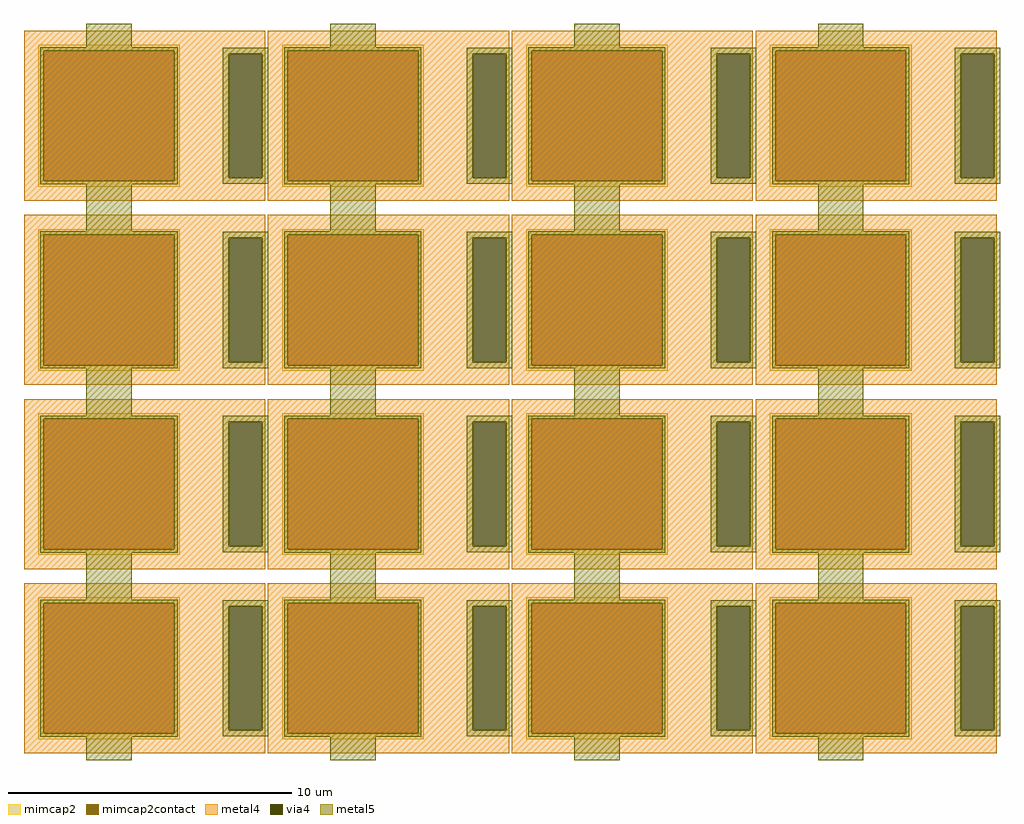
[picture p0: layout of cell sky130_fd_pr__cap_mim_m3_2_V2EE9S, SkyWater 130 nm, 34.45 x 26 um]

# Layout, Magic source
magic
tech sky130A
magscale 1 2
<< metal4 >>
rect -3434 2389 -1732 2550
rect -3434 1511 -1988 2389
rect -1752 1511 -1732 2389
rect -3434 1350 -1732 1511
rect -1712 2389 -10 2550
rect -1712 1511 -266 2389
rect -30 1511 -10 2389
rect -1712 1350 -10 1511
rect 10 2389 1712 2550
rect 10 1511 1456 2389
rect 1692 1511 1712 2389
rect 10 1350 1712 1511
rect 1732 2389 3434 2550
rect 1732 1511 3178 2389
rect 3414 1511 3434 2389
rect 1732 1350 3434 1511
rect -3434 1089 -1732 1250
rect -3434 211 -1988 1089
rect -1752 211 -1732 1089
rect -3434 50 -1732 211
rect -1712 1089 -10 1250
rect -1712 211 -266 1089
rect -30 211 -10 1089
rect -1712 50 -10 211
rect 10 1089 1712 1250
rect 10 211 1456 1089
rect 1692 211 1712 1089
rect 10 50 1712 211
rect 1732 1089 3434 1250
rect 1732 211 3178 1089
rect 3414 211 3434 1089
rect 1732 50 3434 211
rect -3434 -211 -1732 -50
rect -3434 -1089 -1988 -211
rect -1752 -1089 -1732 -211
rect -3434 -1250 -1732 -1089
rect -1712 -211 -10 -50
rect -1712 -1089 -266 -211
rect -30 -1089 -10 -211
rect -1712 -1250 -10 -1089
rect 10 -211 1712 -50
rect 10 -1089 1456 -211
rect 1692 -1089 1712 -211
rect 10 -1250 1712 -1089
rect 1732 -211 3434 -50
rect 1732 -1089 3178 -211
rect 3414 -1089 3434 -211
rect 1732 -1250 3434 -1089
rect -3434 -1511 -1732 -1350
rect -3434 -2389 -1988 -1511
rect -1752 -2389 -1732 -1511
rect -3434 -2550 -1732 -2389
rect -1712 -1511 -10 -1350
rect -1712 -2389 -266 -1511
rect -30 -2389 -10 -1511
rect -1712 -2550 -10 -2389
rect 10 -1511 1712 -1350
rect 10 -2389 1456 -1511
rect 1692 -2389 1712 -1511
rect 10 -2550 1712 -2389
rect 1732 -1511 3434 -1350
rect 1732 -2389 3178 -1511
rect 3414 -2389 3434 -1511
rect 1732 -2550 3434 -2389
<< via4 >>
rect -1988 1511 -1752 2389
rect -266 1511 -30 2389
rect 1456 1511 1692 2389
rect 3178 1511 3414 2389
rect -1988 211 -1752 1089
rect -266 211 -30 1089
rect 1456 211 1692 1089
rect 3178 211 3414 1089
rect -1988 -1089 -1752 -211
rect -266 -1089 -30 -211
rect 1456 -1089 1692 -211
rect 3178 -1089 3414 -211
rect -1988 -2389 -1752 -1511
rect -266 -2389 -30 -1511
rect 1456 -2389 1692 -1511
rect 3178 -2389 3414 -1511
<< mimcap2 >>
rect -3334 2410 -2334 2450
rect -3334 1490 -3294 2410
rect -2374 1490 -2334 2410
rect -3334 1450 -2334 1490
rect -1612 2410 -612 2450
rect -1612 1490 -1572 2410
rect -652 1490 -612 2410
rect -1612 1450 -612 1490
rect 110 2410 1110 2450
rect 110 1490 150 2410
rect 1070 1490 1110 2410
rect 110 1450 1110 1490
rect 1832 2410 2832 2450
rect 1832 1490 1872 2410
rect 2792 1490 2832 2410
rect 1832 1450 2832 1490
rect -3334 1110 -2334 1150
rect -3334 190 -3294 1110
rect -2374 190 -2334 1110
rect -3334 150 -2334 190
rect -1612 1110 -612 1150
rect -1612 190 -1572 1110
rect -652 190 -612 1110
rect -1612 150 -612 190
rect 110 1110 1110 1150
rect 110 190 150 1110
rect 1070 190 1110 1110
rect 110 150 1110 190
rect 1832 1110 2832 1150
rect 1832 190 1872 1110
rect 2792 190 2832 1110
rect 1832 150 2832 190
rect -3334 -190 -2334 -150
rect -3334 -1110 -3294 -190
rect -2374 -1110 -2334 -190
rect -3334 -1150 -2334 -1110
rect -1612 -190 -612 -150
rect -1612 -1110 -1572 -190
rect -652 -1110 -612 -190
rect -1612 -1150 -612 -1110
rect 110 -190 1110 -150
rect 110 -1110 150 -190
rect 1070 -1110 1110 -190
rect 110 -1150 1110 -1110
rect 1832 -190 2832 -150
rect 1832 -1110 1872 -190
rect 2792 -1110 2832 -190
rect 1832 -1150 2832 -1110
rect -3334 -1490 -2334 -1450
rect -3334 -2410 -3294 -1490
rect -2374 -2410 -2334 -1490
rect -3334 -2450 -2334 -2410
rect -1612 -1490 -612 -1450
rect -1612 -2410 -1572 -1490
rect -652 -2410 -612 -1490
rect -1612 -2450 -612 -2410
rect 110 -1490 1110 -1450
rect 110 -2410 150 -1490
rect 1070 -2410 1110 -1490
rect 110 -2450 1110 -2410
rect 1832 -1490 2832 -1450
rect 1832 -2410 1872 -1490
rect 2792 -2410 2832 -1490
rect 1832 -2450 2832 -2410
<< mimcap2contact >>
rect -3294 1490 -2374 2410
rect -1572 1490 -652 2410
rect 150 1490 1070 2410
rect 1872 1490 2792 2410
rect -3294 190 -2374 1110
rect -1572 190 -652 1110
rect 150 190 1070 1110
rect 1872 190 2792 1110
rect -3294 -1110 -2374 -190
rect -1572 -1110 -652 -190
rect 150 -1110 1070 -190
rect 1872 -1110 2792 -190
rect -3294 -2410 -2374 -1490
rect -1572 -2410 -652 -1490
rect 150 -2410 1070 -1490
rect 1872 -2410 2792 -1490
<< metal5 >>
rect -2994 2434 -2674 2600
rect -1272 2434 -952 2600
rect 450 2434 770 2600
rect 2172 2434 2492 2600
rect -3318 2410 -2350 2434
rect -3318 1490 -3294 2410
rect -2374 1490 -2350 2410
rect -3318 1466 -2350 1490
rect -2030 2389 -1710 2431
rect -2030 1511 -1988 2389
rect -1752 1511 -1710 2389
rect -2030 1469 -1710 1511
rect -1596 2410 -628 2434
rect -1596 1490 -1572 2410
rect -652 1490 -628 2410
rect -1596 1466 -628 1490
rect -308 2389 12 2431
rect -308 1511 -266 2389
rect -30 1511 12 2389
rect -308 1469 12 1511
rect 126 2410 1094 2434
rect 126 1490 150 2410
rect 1070 1490 1094 2410
rect 126 1466 1094 1490
rect 1414 2389 1734 2431
rect 1414 1511 1456 2389
rect 1692 1511 1734 2389
rect 1414 1469 1734 1511
rect 1848 2410 2816 2434
rect 1848 1490 1872 2410
rect 2792 1490 2816 2410
rect 1848 1466 2816 1490
rect 3136 2389 3456 2431
rect 3136 1511 3178 2389
rect 3414 1511 3456 2389
rect 3136 1469 3456 1511
rect -2994 1134 -2674 1466
rect -1272 1134 -952 1466
rect 450 1134 770 1466
rect 2172 1134 2492 1466
rect -3318 1110 -2350 1134
rect -3318 190 -3294 1110
rect -2374 190 -2350 1110
rect -3318 166 -2350 190
rect -2030 1089 -1710 1131
rect -2030 211 -1988 1089
rect -1752 211 -1710 1089
rect -2030 169 -1710 211
rect -1596 1110 -628 1134
rect -1596 190 -1572 1110
rect -652 190 -628 1110
rect -1596 166 -628 190
rect -308 1089 12 1131
rect -308 211 -266 1089
rect -30 211 12 1089
rect -308 169 12 211
rect 126 1110 1094 1134
rect 126 190 150 1110
rect 1070 190 1094 1110
rect 126 166 1094 190
rect 1414 1089 1734 1131
rect 1414 211 1456 1089
rect 1692 211 1734 1089
rect 1414 169 1734 211
rect 1848 1110 2816 1134
rect 1848 190 1872 1110
rect 2792 190 2816 1110
rect 1848 166 2816 190
rect 3136 1089 3456 1131
rect 3136 211 3178 1089
rect 3414 211 3456 1089
rect 3136 169 3456 211
rect -2994 -166 -2674 166
rect -1272 -166 -952 166
rect 450 -166 770 166
rect 2172 -166 2492 166
rect -3318 -190 -2350 -166
rect -3318 -1110 -3294 -190
rect -2374 -1110 -2350 -190
rect -3318 -1134 -2350 -1110
rect -2030 -211 -1710 -169
rect -2030 -1089 -1988 -211
rect -1752 -1089 -1710 -211
rect -2030 -1131 -1710 -1089
rect -1596 -190 -628 -166
rect -1596 -1110 -1572 -190
rect -652 -1110 -628 -190
rect -1596 -1134 -628 -1110
rect -308 -211 12 -169
rect -308 -1089 -266 -211
rect -30 -1089 12 -211
rect -308 -1131 12 -1089
rect 126 -190 1094 -166
rect 126 -1110 150 -190
rect 1070 -1110 1094 -190
rect 126 -1134 1094 -1110
rect 1414 -211 1734 -169
rect 1414 -1089 1456 -211
rect 1692 -1089 1734 -211
rect 1414 -1131 1734 -1089
rect 1848 -190 2816 -166
rect 1848 -1110 1872 -190
rect 2792 -1110 2816 -190
rect 1848 -1134 2816 -1110
rect 3136 -211 3456 -169
rect 3136 -1089 3178 -211
rect 3414 -1089 3456 -211
rect 3136 -1131 3456 -1089
rect -2994 -1466 -2674 -1134
rect -1272 -1466 -952 -1134
rect 450 -1466 770 -1134
rect 2172 -1466 2492 -1134
rect -3318 -1490 -2350 -1466
rect -3318 -2410 -3294 -1490
rect -2374 -2410 -2350 -1490
rect -3318 -2434 -2350 -2410
rect -2030 -1511 -1710 -1469
rect -2030 -2389 -1988 -1511
rect -1752 -2389 -1710 -1511
rect -2030 -2431 -1710 -2389
rect -1596 -1490 -628 -1466
rect -1596 -2410 -1572 -1490
rect -652 -2410 -628 -1490
rect -1596 -2434 -628 -2410
rect -308 -1511 12 -1469
rect -308 -2389 -266 -1511
rect -30 -2389 12 -1511
rect -308 -2431 12 -2389
rect 126 -1490 1094 -1466
rect 126 -2410 150 -1490
rect 1070 -2410 1094 -1490
rect 126 -2434 1094 -2410
rect 1414 -1511 1734 -1469
rect 1414 -2389 1456 -1511
rect 1692 -2389 1734 -1511
rect 1414 -2431 1734 -2389
rect 1848 -1490 2816 -1466
rect 1848 -2410 1872 -1490
rect 2792 -2410 2816 -1490
rect 1848 -2434 2816 -2410
rect 3136 -1511 3456 -1469
rect 3136 -2389 3178 -1511
rect 3414 -2389 3456 -1511
rect 3136 -2431 3456 -2389
rect -2994 -2600 -2674 -2434
rect -1272 -2600 -952 -2434
rect 450 -2600 770 -2434
rect 2172 -2600 2492 -2434
<< properties >>
string FIXED_BBOX 1732 1350 2932 2550
string gencell sky130_fd_pr__cap_mim_m3_2
string library sky130
string parameters w 5.0 l 5.0 val 53.8 carea 2.00 cperi 0.19 nx 4 ny 4 dummy 0 square 0 lmin 2.00 wmin 2.00 lmax 30.0 wmax 30.0 dc 0 bconnect 0 tconnect 1 ccov 100
<< end >>
